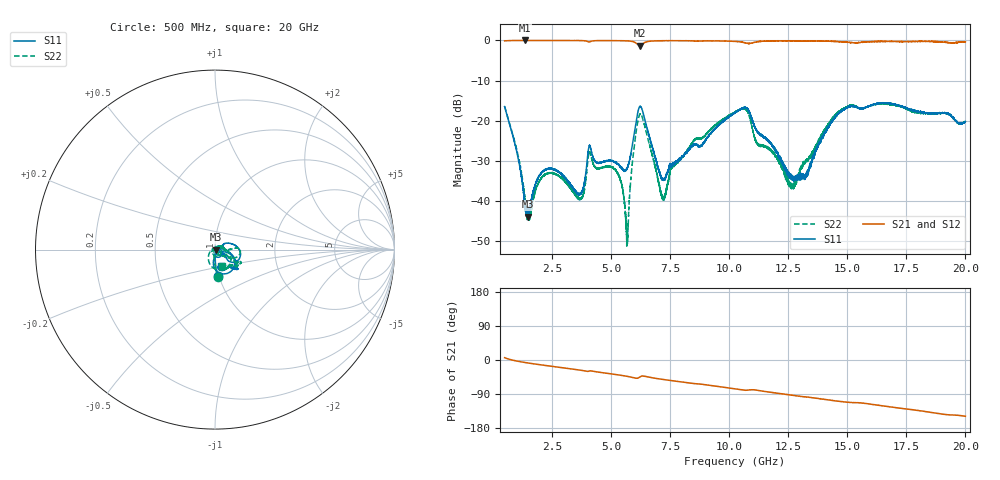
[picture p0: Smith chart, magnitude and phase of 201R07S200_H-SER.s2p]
!{201R07S200}
!Johanson Technology Inc.
!www.johansontechnology.com
!Test Board Conditions:
!Substrate Type  RO4350B
!Substrate Thickness  10 mil
!Substrate Dk  3.66
!TL Type: GCPW
!TL Trace Width  21 mil
!TL Gap  20 mil
!Electrode orientation  Horizontal
!DUT TOPOLOGY	SERIES
!Mounting Pad LxW  16x21 mil
!Agilent Technologies,N5230A,MY45001966,A.07.50.67
!Agilent N5230A: A.07.50.67
! Created Mon Mar  9 16:08:00 2020
# mhz S ma R 50
! 2 Port Network Data from SP1.SP block
! freq  magS11  angS11  magS21  angS21  magS12  angS12  magS22  angS22
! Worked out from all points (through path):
!   19501 points, 500 MHz to 20 GHz, reference 50 ohm
!   highest |S21| = -0.01 dB at 1.364 GHz (marker M1); lowest = -1.3 dB at 6.218 GHz (marker M2)
!   group delay of S21, straight-line fit = 21 ps
!   lowest |S11| = -44.0 dB at 1.505 GHz (marker M3), VSWR 1.01, Z = 50.6 - j0.0537 ohm
!   |S11| at or under -10 dB: start of sweep to end of sweep
!   |S22| runs from -51.3 to -15.7 dB; largest |S21 - S12| = 0.015
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500  0.1501 -83.9  0.987 6.2  0.9882 6.2  0.1514 -84.0
1364  0.008677 -58.6  0.9994 -6.6  0.998 -6.7  0.0102 -126.3
1505  0.006314 -4.8  0.999 -8.0  0.9986 -8.0  0.006054 -169.8
2300  0.02485 52.1  0.997 -15.1  0.9985 -15.0  0.02191 92.8
3750  0.01277 24.2  0.9952 -27.3  0.9954 -27.3  0.01073 55.7
4101  0.049 -52.4  0.9596 -28.9  0.9588 -28.9  0.04071 -55.8
5052  0.03141 -99.0  0.9952 -37.0  0.9952 -37.0  0.0263 -143.2
5411  0.02644 -85.1  0.993 -40.3  0.9929 -40.3  0.01785 -153.5
5684  0.02529 -45.4  0.9874 -43.0  0.9876 -43.1  0.003101 125.9
5976  0.06591 -13.3  0.9571 -47.0  0.957 -46.9  0.045 9.2
6218  0.1494 -51.0  0.8627 -45.3  0.8635 -45.3  0.1193 -52.8
7000  0.02562 -74.8  0.9905 -49.4  0.9907 -49.5  0.01768 179.2
7235  0.01848 -25.2  0.9924 -51.6  0.993 -51.6  0.01054 106.2
8483  0.0489 26.9  0.9854 -62.0  0.9858 -61.9  0.05488 4.4
10250  0.126 6.3  0.9721 -76.2  0.9721 -76.2  0.1282 3.3
10778  0.1406 -25.7  0.9217 -79.6  0.9206 -79.6  0.1301 -17.8
11171  0.07518 -34.8  0.9612 -79.6  0.9606 -79.5  0.05306 -7.8
12635  0.02027 -12.7  0.9859 -92.7  0.9871 -92.8  0.01411 -10.8
13500  0.03056 14.3  0.9841 -99.5  0.9836 -99.4  0.03835 -52.8
14741  0.1301 -29.5  0.9594 -109.7  0.9603 -109.7  0.1362 -32.5
16750  0.1642 -42.1  0.9744 -123.0  0.9684 -123.2  0.1606 -30.2
20000  0.09726 -71.0  0.9626 -148.5  0.9623 -148.4  0.09762 -67.5
